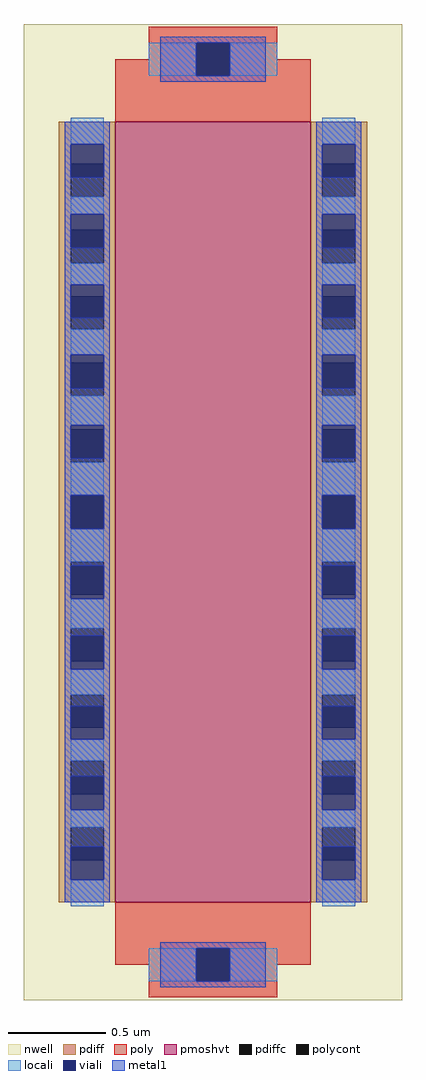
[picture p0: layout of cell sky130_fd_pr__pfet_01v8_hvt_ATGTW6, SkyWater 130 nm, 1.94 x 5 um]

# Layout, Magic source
magic
tech sky130A
magscale 1 2
<< nwell >>
rect -194 -500 194 500
<< pmoshvt >>
rect -100 -400 100 400
<< pdiff >>
rect -158 357 -100 400
rect -158 323 -146 357
rect -112 323 -100 357
rect -158 289 -100 323
rect -158 255 -146 289
rect -112 255 -100 289
rect -158 221 -100 255
rect -158 187 -146 221
rect -112 187 -100 221
rect -158 153 -100 187
rect -158 119 -146 153
rect -112 119 -100 153
rect -158 85 -100 119
rect -158 51 -146 85
rect -112 51 -100 85
rect -158 17 -100 51
rect -158 -17 -146 17
rect -112 -17 -100 17
rect -158 -51 -100 -17
rect -158 -85 -146 -51
rect -112 -85 -100 -51
rect -158 -119 -100 -85
rect -158 -153 -146 -119
rect -112 -153 -100 -119
rect -158 -187 -100 -153
rect -158 -221 -146 -187
rect -112 -221 -100 -187
rect -158 -255 -100 -221
rect -158 -289 -146 -255
rect -112 -289 -100 -255
rect -158 -323 -100 -289
rect -158 -357 -146 -323
rect -112 -357 -100 -323
rect -158 -400 -100 -357
rect 100 357 158 400
rect 100 323 112 357
rect 146 323 158 357
rect 100 289 158 323
rect 100 255 112 289
rect 146 255 158 289
rect 100 221 158 255
rect 100 187 112 221
rect 146 187 158 221
rect 100 153 158 187
rect 100 119 112 153
rect 146 119 158 153
rect 100 85 158 119
rect 100 51 112 85
rect 146 51 158 85
rect 100 17 158 51
rect 100 -17 112 17
rect 146 -17 158 17
rect 100 -51 158 -17
rect 100 -85 112 -51
rect 146 -85 158 -51
rect 100 -119 158 -85
rect 100 -153 112 -119
rect 146 -153 158 -119
rect 100 -187 158 -153
rect 100 -221 112 -187
rect 146 -221 158 -187
rect 100 -255 158 -221
rect 100 -289 112 -255
rect 146 -289 158 -255
rect 100 -323 158 -289
rect 100 -357 112 -323
rect 146 -357 158 -323
rect 100 -400 158 -357
<< pdiffc >>
rect -146 323 -112 357
rect -146 255 -112 289
rect -146 187 -112 221
rect -146 119 -112 153
rect -146 51 -112 85
rect -146 -17 -112 17
rect -146 -85 -112 -51
rect -146 -153 -112 -119
rect -146 -221 -112 -187
rect -146 -289 -112 -255
rect -146 -357 -112 -323
rect 112 323 146 357
rect 112 255 146 289
rect 112 187 146 221
rect 112 119 146 153
rect 112 51 146 85
rect 112 -17 146 17
rect 112 -85 146 -51
rect 112 -153 146 -119
rect 112 -221 146 -187
rect 112 -289 146 -255
rect 112 -357 146 -323
<< poly >>
rect -66 481 66 497
rect -66 464 -17 481
rect -100 447 -17 464
rect 17 464 66 481
rect 17 447 100 464
rect -100 400 100 447
rect -100 -447 100 -400
rect -100 -464 -17 -447
rect -66 -481 -17 -464
rect 17 -464 100 -447
rect 17 -481 66 -464
rect -66 -497 66 -481
<< polycont >>
rect -17 447 17 481
rect -17 -481 17 -447
<< locali >>
rect -66 447 -17 481
rect 17 447 66 481
rect -146 377 -112 404
rect -146 305 -112 323
rect -146 233 -112 255
rect -146 161 -112 187
rect -146 89 -112 119
rect -146 17 -112 51
rect -146 -51 -112 -17
rect -146 -119 -112 -89
rect -146 -187 -112 -161
rect -146 -255 -112 -233
rect -146 -323 -112 -305
rect -146 -404 -112 -377
rect 112 377 146 404
rect 112 305 146 323
rect 112 233 146 255
rect 112 161 146 187
rect 112 89 146 119
rect 112 17 146 51
rect 112 -51 146 -17
rect 112 -119 146 -89
rect 112 -187 146 -161
rect 112 -255 146 -233
rect 112 -323 146 -305
rect 112 -404 146 -377
rect -66 -481 -17 -447
rect 17 -481 66 -447
<< viali >>
rect -17 447 17 481
rect -146 357 -112 377
rect -146 343 -112 357
rect -146 289 -112 305
rect -146 271 -112 289
rect -146 221 -112 233
rect -146 199 -112 221
rect -146 153 -112 161
rect -146 127 -112 153
rect -146 85 -112 89
rect -146 55 -112 85
rect -146 -17 -112 17
rect -146 -85 -112 -55
rect -146 -89 -112 -85
rect -146 -153 -112 -127
rect -146 -161 -112 -153
rect -146 -221 -112 -199
rect -146 -233 -112 -221
rect -146 -289 -112 -271
rect -146 -305 -112 -289
rect -146 -357 -112 -343
rect -146 -377 -112 -357
rect 112 357 146 377
rect 112 343 146 357
rect 112 289 146 305
rect 112 271 146 289
rect 112 221 146 233
rect 112 199 146 221
rect 112 153 146 161
rect 112 127 146 153
rect 112 85 146 89
rect 112 55 146 85
rect 112 -17 146 17
rect 112 -85 146 -55
rect 112 -89 146 -85
rect 112 -153 146 -127
rect 112 -161 146 -153
rect 112 -221 146 -199
rect 112 -233 146 -221
rect 112 -289 146 -271
rect 112 -305 146 -289
rect 112 -357 146 -343
rect 112 -377 146 -357
rect -17 -481 17 -447
<< metal1 >>
rect -54 481 54 487
rect -54 447 -17 481
rect 17 447 54 481
rect -54 441 54 447
rect -152 377 -106 400
rect -152 343 -146 377
rect -112 343 -106 377
rect -152 305 -106 343
rect -152 271 -146 305
rect -112 271 -106 305
rect -152 233 -106 271
rect -152 199 -146 233
rect -112 199 -106 233
rect -152 161 -106 199
rect -152 127 -146 161
rect -112 127 -106 161
rect -152 89 -106 127
rect -152 55 -146 89
rect -112 55 -106 89
rect -152 17 -106 55
rect -152 -17 -146 17
rect -112 -17 -106 17
rect -152 -55 -106 -17
rect -152 -89 -146 -55
rect -112 -89 -106 -55
rect -152 -127 -106 -89
rect -152 -161 -146 -127
rect -112 -161 -106 -127
rect -152 -199 -106 -161
rect -152 -233 -146 -199
rect -112 -233 -106 -199
rect -152 -271 -106 -233
rect -152 -305 -146 -271
rect -112 -305 -106 -271
rect -152 -343 -106 -305
rect -152 -377 -146 -343
rect -112 -377 -106 -343
rect -152 -400 -106 -377
rect 106 377 152 400
rect 106 343 112 377
rect 146 343 152 377
rect 106 305 152 343
rect 106 271 112 305
rect 146 271 152 305
rect 106 233 152 271
rect 106 199 112 233
rect 146 199 152 233
rect 106 161 152 199
rect 106 127 112 161
rect 146 127 152 161
rect 106 89 152 127
rect 106 55 112 89
rect 146 55 152 89
rect 106 17 152 55
rect 106 -17 112 17
rect 146 -17 152 17
rect 106 -55 152 -17
rect 106 -89 112 -55
rect 146 -89 152 -55
rect 106 -127 152 -89
rect 106 -161 112 -127
rect 146 -161 152 -127
rect 106 -199 152 -161
rect 106 -233 112 -199
rect 146 -233 152 -199
rect 106 -271 152 -233
rect 106 -305 112 -271
rect 146 -305 152 -271
rect 106 -343 152 -305
rect 106 -377 112 -343
rect 146 -377 152 -343
rect 106 -400 152 -377
rect -54 -447 54 -441
rect -54 -481 -17 -447
rect 17 -481 54 -447
rect -54 -487 54 -481
<< end >>
